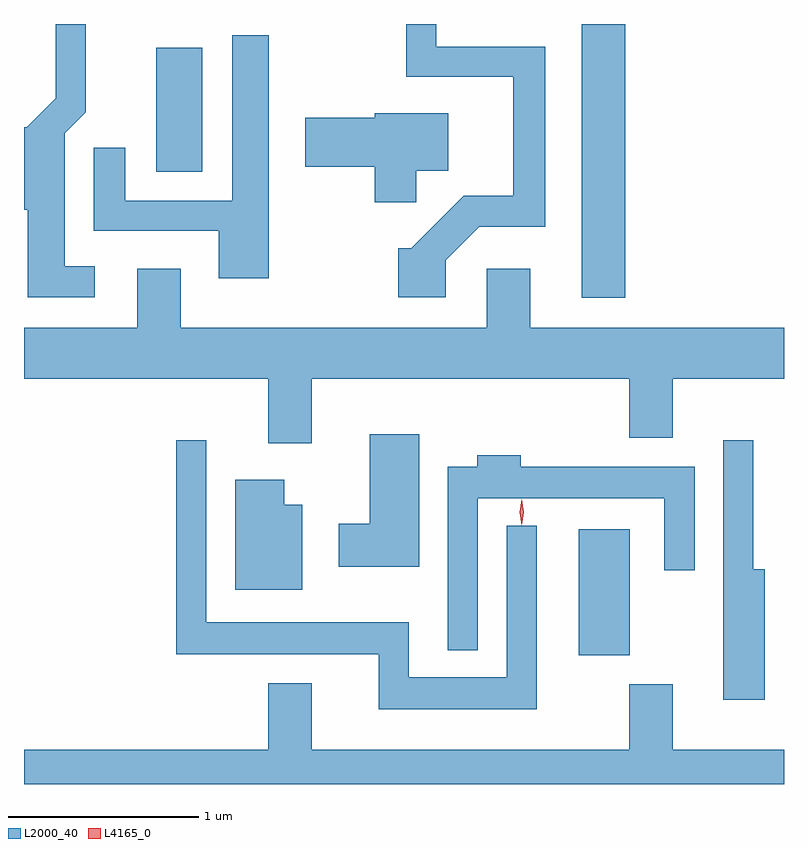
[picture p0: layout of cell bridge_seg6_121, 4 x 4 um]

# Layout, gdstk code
import gdstk
lib = gdstk.Library(unit=1e-6, precision=1e-09)
def R(c, l, rs):  # rectangles x0, y0, x1, y1
    for r in rs: c.add(gdstk.rectangle(r[:2], r[2:], *l))
def P(c, l, *ps):  # polygons
    for p in ps: c.add(gdstk.Polygon(p, *l))
L2000_40 = (2000, 40)
L4165_0 = (4165, 0)

bridge_seg6_121 = lib.new_cell('bridge_seg6_121')
R(bridge_seg6_121, L2000_40, [(1178.736,1621.841,1179.004,1622.504), (1178.751,1623.721,1178.979,1625.163), (1176.511,1624.386,1176.754,1625.039)])
P(bridge_seg6_121, L2000_40, [(1178.034,1623.919),(1178.212,1624.096),(1178.559,1624.096),(1178.559,1625.044),(1177.984,1625.044),(1177.984,1625.163),(1177.826,1625.163),(1177.826,1624.886),(1178.391,1624.886),(1178.391,1624.259),(1178.129,1624.259),(1177.854,1623.984),(1177.786,1623.984),(1177.786,1623.726),(1178.034,1623.726)],
  [(1176.188,1623.889),(1176.029,1623.889),(1176.029,1624.589),(1176.139,1624.699),(1176.139,1625.163),(1175.981,1625.163),(1175.981,1624.772),(1175.829,1624.619),(1175.815,1624.619),(1175.815,1624.186),(1175.836,1624.186),(1175.836,1623.726),(1176.188,1623.726)],
  [(1177.104,1625.104),(1176.911,1625.104),(1176.911,1624.234),(1176.349,1624.234),(1176.349,1624.513),(1176.181,1624.513),(1176.181,1624.076),(1176.841,1624.076),(1176.841,1623.826),(1177.104,1623.826)],
  [(1177.879,1624.391),(1178.049,1624.391),(1178.049,1624.694),(1177.661,1624.694),(1177.661,1624.669),(1177.296,1624.669),(1177.296,1624.411),(1177.661,1624.411),(1177.661,1624.226),(1177.879,1624.226)],
  [(1177.329,1623.296),(1179.001,1623.296),(1179.001,1622.986),(1179.229,1622.986),(1179.229,1623.296),(1179.815,1623.296),(1179.815,1623.564),(1178.479,1623.564),(1178.479,1623.874),(1178.251,1623.874),(1178.251,1623.564),(1176.639,1623.564),(1176.639,1623.874),(1176.411,1623.874),(1176.411,1623.564),(1175.815,1623.564),(1175.815,1623.296),(1177.101,1623.296),(1177.101,1622.956),(1177.329,1622.956)],
  [(1177.894,1623.004),(1177.636,1623.004),(1177.636,1622.534),(1177.471,1622.534),(1177.471,1622.306),(1177.894,1622.306)],
  [(1179.714,1622.294),(1179.654,1622.294),(1179.654,1622.973),(1179.496,1622.973),(1179.496,1621.606),(1179.714,1621.606)],
  [(1178.514,1622.523),(1178.356,1622.523),(1178.356,1621.724),(1177.839,1621.724),(1177.839,1622.014),(1176.774,1622.014),(1176.774,1622.973),(1176.616,1622.973),(1176.616,1621.846),(1177.681,1621.846),(1177.681,1621.556),(1178.514,1621.556)],
  [(1178.204,1622.666),(1179.186,1622.666),(1179.186,1622.288),(1179.344,1622.288),(1179.344,1622.834),(1178.429,1622.834),(1178.429,1622.894),(1178.201,1622.894),(1178.201,1622.834),(1178.046,1622.834),(1178.046,1621.868),(1178.204,1621.868)],
  [(1177.279,1622.634),(1177.184,1622.634),(1177.184,1622.764),(1176.926,1622.764),(1176.926,1622.186),(1177.279,1622.186)],
  [(1179.815,1621.344),(1179.229,1621.344),(1179.229,1621.689),(1179.001,1621.689),(1179.001,1621.344),(1177.329,1621.344),(1177.329,1621.694),(1177.101,1621.694),(1177.101,1621.344),(1175.815,1621.344),(1175.815,1621.163),(1179.815,1621.163)])
P(bridge_seg6_121, L4165_0, [(1178.434,1622.524),(1178.434,1622.524),(1178.424,1622.593),(1178.434,1622.663),(1178.434,1622.663),(1178.435,1622.663),(1178.444,1622.593),(1178.435,1622.524)])

lib.write_gds('bridge_seg6_121.gds')
